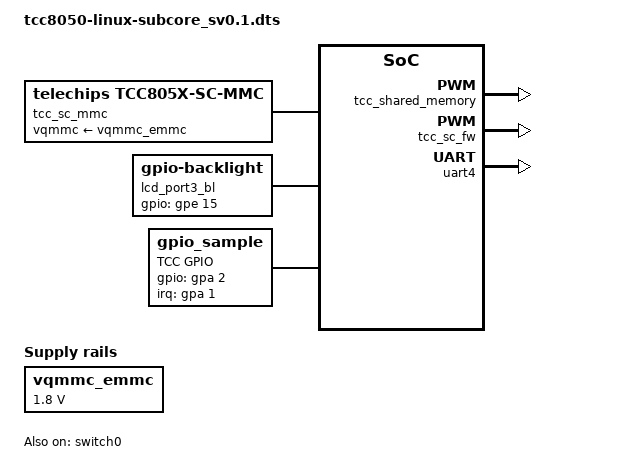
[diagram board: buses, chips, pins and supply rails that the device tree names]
// SPDX-License-Identifier: (GPL-2.0-or-later OR MIT)
/*
 * Copyright (C) Telechips Inc.
 */

/dts-v1/;

/* Definition for H/W LCD ports */
#define LCD_PORT1_PWR "gpmc-19"
#define LCD_PORT1_RST "gpmc-20"
#define LCD_PORT1_BLK "gph-6"

#define LCD_PORT2_PWR "gpc-8"
#define LCD_PORT2_RST "gpc-9"
#define LCD_PORT2_BLK "gph-7"

#define LCD_PORT3_PWR "gpmc-2"
#define LCD_PORT3_RST "gpmc-18"
#define LCD_PORT3_BLK "gpe-15"

#define LCD_PORT4_PWR "gpmb-25"
#define LCD_PORT4_RST "gpmb-19"
#define LCD_PORT4_BLK "gpmc-21"

#include "tcc8050-subcore.dtsi"
#include <dt-bindings/pmap/tcc805x/pmap-tcc805x-linux-ivi-subcore-a53q.h>

/ {
	vqmmc_emmc: vqmmc_emmc {
		compatible = "regulator-fixed";
		regulator-name = "vqmmc_emmc";
		regulator-min-microvolt = <1800000>;
		regulator-max-microvolt = <1800000>;
		regulator-always-on;
	};

	tcc_sc_mmc: tcc_sc_mmc {
		compatible = "telechips,tcc805x-sc-mmc";
		status = "okay";

		max-frequency = <200000000>;
		bus-width = <8>;

		sc-firmware = <&tcc_sc_fw>;

		no-sdio;
		no-sd;
		non-removable;
		keep-power-in-suspend;
		disable-wp;

		mmc-hs400-1_8v;
		vqmmc-supply = <&vqmmc_emmc>;
	};

	tcc_sc_ufs: tcc_sc_ufs {
		compatible = "telechips,tcc805x-sc-ufs";
		status = "okay";
		sc-firmware = <&tcc_sc_fw>;
	};

	tcc_shared_memory: tcc_shared_memory {
		compatible = "telechips,tcc_shmem";
		reg = <0x0 0x38000000 0x0 0x8000000>;
		reg-names = "tcc_shmem";
		interrupts = <GIC_SPI 50 IRQ_TYPE_LEVEL_HIGH>;
		lable = "TCC shared memory";
		memory-region = <&pmap_tcc_shmem>;
		dist_regs = <0x17301000 0x1000 0x17C01000 0x1000>;
		core-num = <1>;
	};

	tcc_virt_eth: tcc_virt_eth {
		compatible = "telechips,tcc_virt_eth";
		status = "okay";
	};

	lcd_port3_bl: lcd_port3_bl {
			status = "okay";
			compatible = "gpio-backlight";
			gpios = <&gpe 15 0>;
			default-on;
	};

	fb_tm123xdhp90:fb_tm123xdhp90 {
			status = "okay";
			pinctrl-names = "default", "pwr_on_1", "pwr_on_2", "blk_on",
									"blk_off", "power_off";
			pinctrl-0 = <&lcd_port_default3>;
			pinctrl-1 = <&lcd_port_power_on3>;
			pinctrl-2 = <&lcd_port_reset_off3>;
			pinctrl-3 = <&lcd_port_blk_on3>;
			pinctrl-4 = <&lcd_port_blk_off3>;
			pinctrl-5 = <&lcd_port_reset_on3 &lcd_port_power_off3>;
			backlight = <&lcd_port3_bl>;
	};

	vbus_supply_ehci: vbus_supply_ehci {
		gpios = <&gpmc 7 0x0>;
	};

	tcc_gpio_sample {
		compatible = "gpio_sample";
		label = "TCC GPIO";
		interrupt-parent = <&gpa>;
		interrupts = <1 IRQ_TYPE_EDGE_BOTH>;
		gpios = <&gpa 2 0>;
	};
};

&reserved_memory {
	pmap_tcc_shmem: tcc_shmem {
		reg = <0x0 0x38000000 0x0 0x8000000>;
		no-map;
		status = "disabled";
	};

	/*-----------------------------------------------------------
	 * Camera Memory
	 *-----------------------------------------------------------
	 */
	pmap_parking_gui: pmap_parking_gui {
		compatible = "shared-dma-pool";
		reg = <0x0 CAMERA_PGL_BASE 0x0 PMAP_SIZE_CAMERA_PGL>;
		alignment = <0x1000>;
		no-map;
	};

	pmap_rearcamera_viqe: pmap_rearcamera_viqe {
		compatible = "shared-dma-pool";
		reg = <0x0 CAMERA_VIQE_BASE 0x0 PMAP_SIZE_CAMERA_VIQE>;
		alignment = <0x1000>;
		no-map;
	};

	pmap_rearcamera: pmap_rearcamera {
		compatible = "shared-dma-pool";
		reg = <0x0 CAMERA_PREVIEW_BASE 0x0 PMAP_SIZE_CAMERA_PREVIEW0>;
		alignment = <0x1000>;
		no-map;
	};

	pmap_rearcamera1: pmap_rearcamera1 {
		compatible = "shared-dma-pool";
		reg = <0x0 CAMERA_PREVIEW1_BASE 0x0 PMAP_SIZE_CAMERA_PREVIEW1>;
		alignment = <0x1000>;
		no-map;
	};

	pmap_rearcamera2: pmap_rearcamera2 {
		compatible = "shared-dma-pool";
		reg = <0x0 CAMERA_PREVIEW2_BASE 0x0 PMAP_SIZE_CAMERA_PREVIEW2>;
		alignment = <0x1000>;
		no-map;
	};

	pmap_rearcamera3: pmap_rearcamera3 {
		compatible = "shared-dma-pool";
		reg = <0x0 CAMERA_PREVIEW3_BASE 0x0 PMAP_SIZE_CAMERA_PREVIEW3>;
		alignment = <0x1000>;
		no-map;
	};

	pmap_rearcamera4: pmap_rearcamera4 {
		compatible = "shared-dma-pool";
		reg = <0x0 CAMERA_PREVIEW4_BASE 0x0 PMAP_SIZE_CAMERA_PREVIEW4>;
		alignment = <0x1000>;
		no-map;
	};

	pmap_rearcamera5: pmap_rearcamera5 {
		compatible = "shared-dma-pool";
		reg = <0x0 CAMERA_PREVIEW5_BASE 0x0 PMAP_SIZE_CAMERA_PREVIEW5>;
		alignment = <0x1000>;
		no-map;
	};

	pmap_rearcamera6: pmap_rearcamera6 {
		compatible = "shared-dma-pool";
		reg = <0x0 CAMERA_PREVIEW6_BASE 0x0 PMAP_SIZE_CAMERA_PREVIEW6>;
		alignment = <0x1000>;
		no-map;
	};

	pmap_rearcamera7: pmap_rearcamera7 {
		compatible = "shared-dma-pool";
		reg = <0x0 CAMERA_PREVIEW7_BASE 0x0 PMAP_SIZE_CAMERA_PREVIEW7>;
		alignment = <0x1000>;
		no-map;
	};

	pmap_vin_lastframe: pmap_vin_lastframe {
		compatible = "shared-dma-pool";
		reg = <0x0 CAMERA_LASTFRAME_BASE 0x0 PMAP_SIZE_CAMERA_LASTFRAME>;
		alignment = <0x1000>;
		no-map;
	};

	/*-----------------------------------------------------------
	 * Secure Area 1 (CPU X, VPU X, GPU W, VIOC R)
	 *-----------------------------------------------------------
	 */
	pmap_fb_video: fb_video {
		compatible = "pmap,fb_video";
		pmap-name = "fb_video";
		reg = <0x0 FB_VIDEO_BASE 0x0 PMAP_SIZE_FB_VIDEO>;
		alignment = <0x1000>;
		no-map;
	};

	pmap_fb1_video: fb1_video {
		compatible = "pmap,fb1_video";
		pmap-name = "fb1_video";
		alloc-ranges = <0x0 RESERVED_HEAP_BASE 0x0 RESERVED_HEAP_SIZE>;
		size = <0x0 PMAP_SIZE_FB1_VIDEO>;
		no-map;
	};

	pmap_fb2_video: fb2_video {
		compatible = "pmap,fb2_video";
		pmap-name = "fb2_video";
		alloc-ranges = <0x0 RESERVED_HEAP_BASE 0x0 RESERVED_HEAP_SIZE>;
		size = <0x0 PMAP_SIZE_FB2_VIDEO>;
		no-map;
	};

	pmap_fb3_video: fb3_video {
		compatible = "pmap,fb3_video";
		pmap-name = "fb3_video";
		alloc-ranges = <0x0 RESERVED_HEAP_BASE 0x0 RESERVED_HEAP_SIZE>;
		size = <0x0 PMAP_SIZE_FB3_VIDEO>;
		no-map;
	};

	pmap_overlay_rot: overlay_rot {
		compatible = "pmap,overlay_rot";
		pmap-name = "overlay_rot";
		alloc-ranges = <0x0 RESERVED_HEAP_BASE 0x0 RESERVED_HEAP_SIZE>;
		size = <0x0 PMAP_SIZE_OVERLAY_ROT>;
		no-map;
	};
};

&a53_sc_mbox {
	status = "okay";
};

&tcc_sc_fw {
	status = "okay";
	mboxes = <&a53_sc_mbox 0>;
};

&cam_ipc0 {
	status = "okay";
};

&cam_ipc1 {
	status = "okay";
};

&switch0 {
	compatible = "telechips,switch";
	status = "okay";

	pinctrl-names = "default";
	pinctrl-0 = <&switch_mb23>;

	switch-gpios = <&gpmb 23 1>;
	switch-active = <0>;
};

&uart4 {
        pinctrl-0 = <&uart9_data>;
        status = "okay";
};

#include "tcc8050_53-videoinput-sv0.1.dtsi"
#include "tcc805x-videoinput-parallel-sd.dtsi"
#include "tcc805x-videoinput-mipi0-hd.dtsi"
